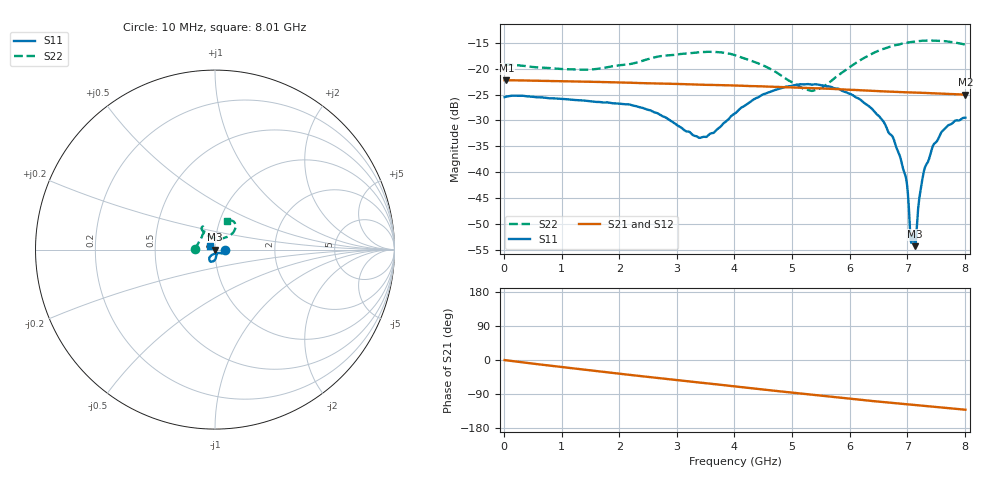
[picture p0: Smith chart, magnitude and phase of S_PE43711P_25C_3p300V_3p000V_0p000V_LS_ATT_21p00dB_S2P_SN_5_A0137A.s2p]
! Device ID: PE43711P
! File Path: z:\PE43711P\CHAR_NOM_04282014\AMB\3p300\LS_ATT_21p00dB\PE43711P_AMB_3p300V_3p000V_0p000V_LS_ATT_21p00dB_S2P_SN_5_A0137A.s2p
! Serial: 5
! Lot: A0137A
! Temp: 25C
! VDD: 3.300
! VSS: 0.000
! Control_Hi: 3.000
! Control_Lo: 0.000
! Attenuation Step: 21.00dB
! Port 1: RF1
! Port 2: RF2
! ThroughPath:1-2
! IDD: 0.0001276376
! ISS: -9.47e-008
#  Hz  S  RI  R  50
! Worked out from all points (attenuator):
!   801 points, 10 MHz to 8.01 GHz, reference 50 ohm
!   highest |S21| = -22.22 dB at 40 MHz (marker M1); lowest = -25.0 dB at 8.01 GHz (marker M2)
!   lowest |S11| = -54.3 dB at 7.14 GHz (marker M3), VSWR 1.00, Z = 49.8 - j0.0125 ohm
!   |S11| at or under -10 dB: start of sweep to end of sweep
!   |S22| runs from -24.3 to -14.5 dB; largest |S21 - S12| = 0.00014
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1e7  0.0532 0.000172  0.0774 -0.000339  0.0775 -0.000326  -0.1107 0.00089
4e7  0.0538 -3.5e-05  0.0775 -0.00107  0.0775 -0.00109  -0.1099 0.00245
1.35e9  0.0458 -0.0186  0.0684 -0.0314  0.0684 -0.0314  -0.084 0.0501
2.68e9  0.031 -0.0198  0.0486 -0.0531  0.0487 -0.0532  -0.0611 0.1166
3.41e9  0.00552 -0.0208  0.0353 -0.0606  0.0354 -0.0606  -0.067 0.1286
4.01e9  -0.0197 -0.0313  0.0239 -0.0646  0.0238 -0.0647  -0.0741 0.1134
4.67e9  -0.0321 -0.0522  0.0108 -0.0661  0.0108 -0.0662  -0.0479 0.084
5.35e9  -0.0221 -0.0667  -0.00183 -0.0649  -0.00177 -0.065  0.00806 0.0605
6.17e9  0.00288 -0.0509  -0.0158 -0.06  -0.0158 -0.0601  0.0877 0.0823
6.53e9  0.00757 -0.033  -0.0209 -0.0569  -0.0209 -0.057  0.1086 0.1066
6.68e9  0.00653 -0.0231  -0.0228 -0.0557  -0.0228 -0.0557  0.1122 0.1172
6.78e9  0.00638 -0.0186  -0.0241 -0.0547  -0.0241 -0.0548  0.1142 0.124
6.95e9  0.00264 -0.00957  -0.0261 -0.0532  -0.0261 -0.0533  0.1139 0.1345
6.99e9  0.00284 -0.00754  -0.0266 -0.0529  -0.0265 -0.0529  0.1142 0.1366
7.04e9  0.00117 -0.0032  -0.0272 -0.0524  -0.0271 -0.0525  0.1137 0.1406
7.08e9  -0.00128 -0.0018  -0.0277 -0.0521  -0.0276 -0.0521  0.1125 0.1428
7.11e9  -0.00192 -0.00146  -0.028 -0.0518  -0.028 -0.0518  0.1119 0.1441
7.14e9  -0.00192 -0.000125  -0.0284 -0.0515  -0.0284 -0.0515  0.1116 0.1457
7.27e9  -0.00594 0.0067  -0.0299 -0.0502  -0.0299 -0.0503  0.1076 0.1529
7.44e9  -0.0115 0.0133  -0.0318 -0.0484  -0.0318 -0.0485  0.0989 0.1593
7.68e9  -0.0194 0.0192  -0.0342 -0.0459  -0.0342 -0.0458  0.0854 0.1635
8.01e9  -0.0258 0.0215  -0.0371 -0.0423  -0.0372 -0.0423  0.0685 0.1569
